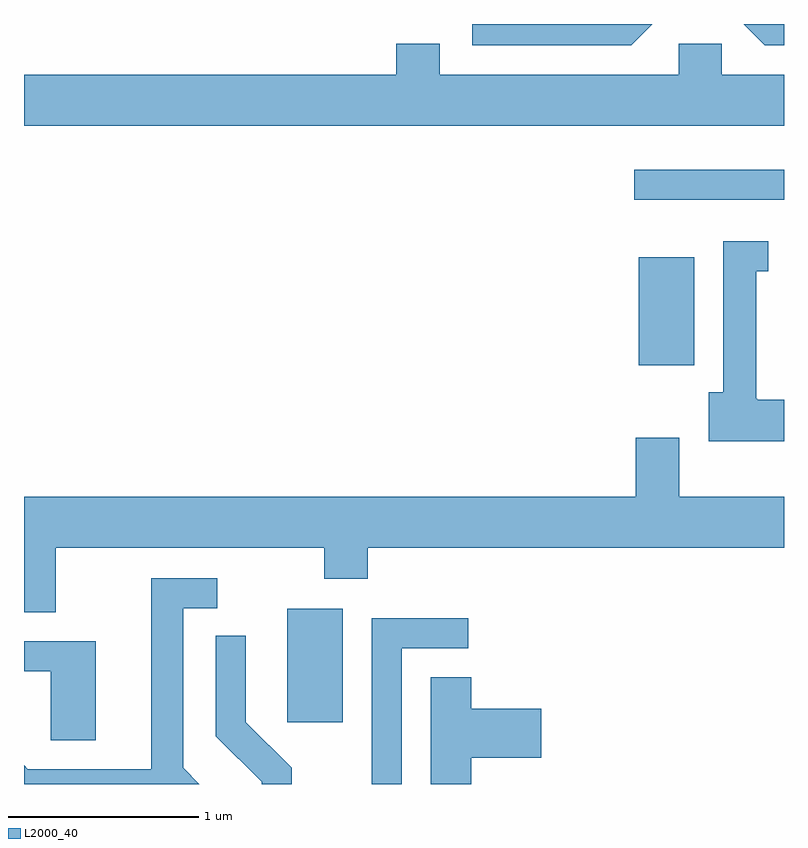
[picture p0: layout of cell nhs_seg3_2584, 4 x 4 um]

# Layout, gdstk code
import gdstk
lib = gdstk.Library(unit=1e-6, precision=1e-09)
def R(c, l, rs):  # rectangles x0, y0, x1, y1
    for r in rs: c.add(gdstk.rectangle(r[:2], r[2:], *l))
def P(c, l, *ps):  # polygons
    for p in ps: c.add(gdstk.Polygon(p, *l))
L2000_40 = (2000, 40)

nhs_seg3_2584 = lib.new_cell('nhs_seg3_2584')
R(nhs_seg3_2584, L2000_40, [(262.996,1116.216,263.289,1116.814), (264.846,1118.096,265.139,1118.664), (264.823,1118.966,265.611,1119.124)])
P(nhs_seg3_2584, L2000_40, [(264.918,1119.892),(263.971,1119.892),(263.971,1119.781),(264.807,1119.781)],
  [(265.611,1119.892),(265.398,1119.892),(265.509,1119.781),(265.611,1119.781)],
  [(265.611,1119.624),(265.284,1119.624),(265.284,1119.789),(265.056,1119.789),(265.056,1119.624),(263.799,1119.624),(263.799,1119.789),(263.571,1119.789),(263.571,1119.624),(261.611,1119.624),(261.611,1119.356),(265.611,1119.356)],
  [(265.611,1117.914),(265.47,1117.914),(265.47,1117.92),(265.464,1117.92),(265.464,1118.591),(265.528,1118.591),(265.528,1118.749),(265.291,1118.749),(265.291,1117.954),(265.216,1117.954),(265.216,1117.696),(265.611,1117.696)],
  [(261.779,1117.136),(263.191,1117.136),(263.191,1116.971),(263.419,1116.971),(263.419,1117.136),(265.611,1117.136),(265.611,1117.404),(265.059,1117.404),(265.059,1117.714),(264.831,1117.714),(264.831,1117.404),(261.611,1117.404),(261.611,1116.796),(261.779,1116.796)],
  [(262.449,1115.977),(262.449,1116.816),(262.628,1116.816),(262.628,1116.974),(262.281,1116.974),(262.281,1115.969),(261.632,1115.969),(261.611,1115.99),(261.611,1115.892),(262.534,1115.892)],
  [(263.599,1116.606),(263.948,1116.606),(263.948,1116.764),(263.441,1116.764),(263.441,1115.892),(263.599,1115.892)],
  [(263.019,1115.977),(262.779,1116.217),(262.779,1116.673),(262.621,1116.673),(262.621,1116.144),(262.861,1115.904),(262.861,1115.892),(263.019,1115.892)],
  [(261.989,1116.644),(261.611,1116.644),(261.611,1116.486),(261.751,1116.486),(261.751,1116.121),(261.989,1116.121)],
  [(263.964,1116.031),(264.334,1116.031),(264.334,1116.289),(263.964,1116.289),(263.964,1116.454),(263.751,1116.454),(263.751,1115.892),(263.964,1115.892)])

lib.write_gds('nhs_seg3_2584.gds')
